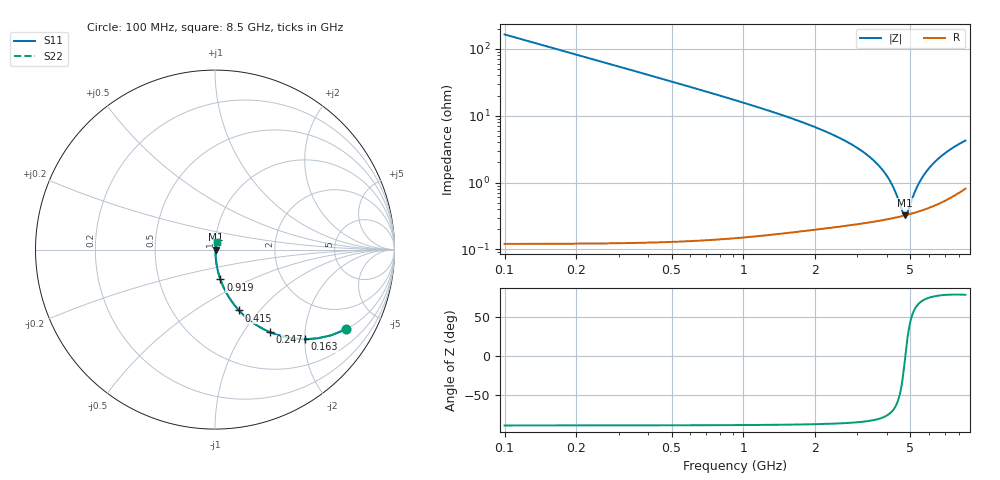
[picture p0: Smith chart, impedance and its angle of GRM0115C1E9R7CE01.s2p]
!Murata Part Number: GRM0115C1E9R7CE01
!These Parameters are Measured in Series Mode Connection
!Data Generated on Mar 30, 2021
!  o--ll--o
!Port1  Port2
!  o------o
!Operation Temp=25[degC], DC Bias Voltage=0[V]
!Freq. Start=100[MHz] Stop=9[GHz] 401[Steps]
# Hz S RI R 50
!Freq.(Hz) S11(Real) S11(Imag) S21(Real) S21(Imag) S12(Real) S12(Imag) S22(Real) S22(Imag)
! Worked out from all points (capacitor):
!   401 points, 100 MHz to 8.5 GHz, reference 50 ohm
!   read as one part in series: C = 9.7 pF near 142 MHz
!   lowest |Z| = 324 mohm at 4.762 GHz (marker M1)
!   series resonance near 4.764 GHz, so ESL is about 120 pH
!   S11 on the Smith chart (normalised r, x): 100 MHz: 1.00, -3.28; 163 MHz: 1.00, -2.01; 247 MHz: 1.00, -1.32; 415 MHz: 1.00, -0.78; 919 MHz: 1.00, -0.34; 8.5 GHz: 1.02, +0.08
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1e8  0.7288 -0.4442  0.2712 0.4442  0.2712 0.4442  0.7288 -0.4442
1.63e8  0.5027 -0.4994  0.4973 0.4994  0.4973 0.4994  0.5027 -0.4994
2.47e8  0.3053 -0.4596  0.6947 0.4596  0.6947 0.4596  0.3053 -0.4596
3.31e8  0.1962 -0.3959  0.8038 0.3959  0.8038 0.3959  0.1962 -0.3959
4.15e8  0.1341 -0.3392  0.8659 0.3392  0.8659 0.3392  0.1341 -0.3392
6.04e8  0.0676 -0.2486  0.9324 0.2486  0.9324 0.2486  0.0676 -0.2486
9.19e8  0.0299 -0.1662  0.9701 0.1662  0.9701 0.1662  0.0299 -0.1662
1.507e9  0.0111 -0.0964  0.9889 0.0964  0.9889 0.0964  0.0111 -0.0964
2.914e9  0.00356 -0.0349  0.9964 0.0349  0.9964 0.0349  0.00356 -0.0349
3.376e9  0.00311 -0.024  0.9969 0.024  0.9969 0.024  0.00311 -0.024
3.754e9  0.00297 -0.0164  0.997 0.0164  0.997 0.0164  0.00297 -0.0164
4.048e9  0.00296 -0.0112  0.997 0.0112  0.997 0.0112  0.00296 -0.0112
4.3e9  0.00301 -0.007  0.997 0.007  0.997 0.007  0.00301 -0.007
4.636e9  0.00316 -0.00186  0.9968 0.00186  0.9968 0.00186  0.00316 -0.00186
4.762e9  0.00323 -2.38e-05  0.9968 2.38e-05  0.9968 2.38e-05  0.00323 -2.38e-05
4.867e9  0.0033 0.00147  0.9967 -0.00147  0.9967 -0.00147  0.0033 0.00147
5.119e9  0.00348 0.00492  0.9965 -0.00492  0.9965 -0.00492  0.00348 0.00492
5.308e9  0.00365 0.00741  0.9963 -0.00741  0.9963 -0.00741  0.00365 0.00741
5.707e9  0.00407 0.0124  0.9959 -0.0124  0.9959 -0.0124  0.00407 0.0124
6.316e9  0.00488 0.0195  0.9951 -0.0195  0.9951 -0.0195  0.00488 0.0195
7.114e9  0.00628 0.028  0.9937 -0.028  0.9937 -0.028  0.00628 0.028
8.5e9  0.0097 0.0409  0.9903 -0.0409  0.9903 -0.0409  0.0097 0.0409
